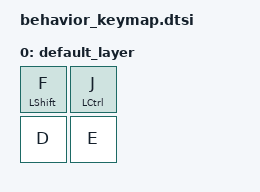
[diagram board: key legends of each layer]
#include <dt-bindings/zmk/keys.h>
#include <behaviors.dtsi>
#include <dt-bindings/zmk/kscan_mock.h>

/ {
	behaviors {
		tp: behavior_tap_preferred {
			compatible = "zmk,behavior-hold-tap";
			label = "MOD_TAP";
			#binding-cells = <2>;
			flavor = "tap-preferred";
			tapping-term-ms = <300>;
			quick-tap-ms = <200>;
			bindings = <&kp>, <&kp>;
            hold-trigger-key-positions = <2>;
		};
	};

	keymap {
		compatible = "zmk,keymap";
		label ="Default keymap";

		default_layer {
			bindings = <
				&tp LEFT_SHIFT F      &tp LEFT_CONTROL J
				&kp D      &kp E>;
		};
	};
};
